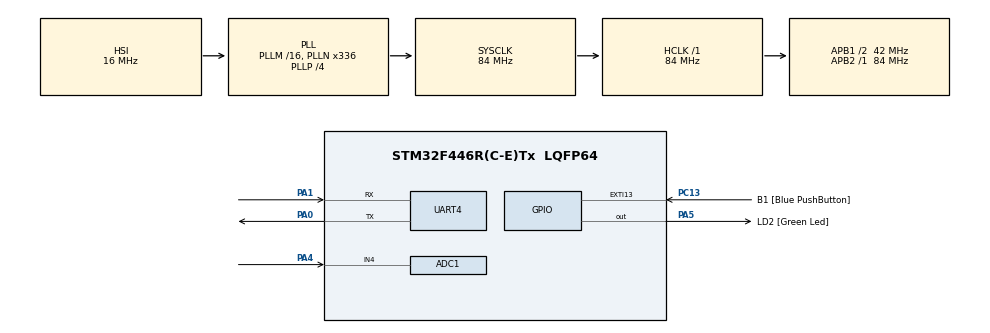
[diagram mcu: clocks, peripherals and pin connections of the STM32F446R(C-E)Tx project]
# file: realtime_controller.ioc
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ADC1.Channel-2\#ChannelRegularConversion=ADC_CHANNEL_4
ADC1.NbrOfConversionFlag=1
ADC1.Rank-2\#ChannelRegularConversion=1
ADC1.SamplingTime-2\#ChannelRegularConversion=ADC_SAMPLETIME_3CYCLES
ADC1.master=1
FREERTOS.BinarySemaphores01=LEDSemaphore,Dynamic,NULL
FREERTOS.Tasks01=LEDTask,16,128,StartLEDTask,Default,NULL,Dynamic,NULL,NULL;buttonTask,24,128,SartButtonTask,Default,NULL,Dynamic,NULL,NULL;SleepTask,8,128,StartSleepTask,Default,NULL,Dynamic,NULL,NULL;LowPowerTask,32,128,StartLowPowerTask,Default,NULL,Dynamic,NULL,NULL
FREERTOS.configUSE_NEWLIB_REENTRANT=1
FREERTOS.configUSE_TICKLESS_IDLE=1
Mcu.Family=STM32F4
Mcu.Name=STM32F446R(C-E)Tx
Mcu.Package=LQFP64
NVIC.EXTI15_10_IRQn=true\:5\:0\:false\:false\:true\:true\:true\:true\:true
NVIC.PriorityGroup=NVIC_PRIORITYGROUP_4
NVIC.RTC_WKUP_IRQn=true\:5\:0\:false\:false\:true\:true\:true\:true\:true
NVIC.TIM5_IRQn=true\:15\:0\:false\:false\:true\:false\:false\:true\:true
NVIC.TimeBase=TIM5_IRQn
NVIC.TimeBaseIP=TIM5
PA0-WKUP.Mode=Asynchronous
PA0-WKUP.Signal=UART4_TX
PA1.Mode=Asynchronous
PA1.Signal=UART4_RX
PA13.GPIO_Label=TMS
PA13.Mode=Serial_Wire
PA13.Signal=SYS_JTMS-SWDIO
PA14.GPIO_Label=TCK
PA14.Mode=Serial_Wire
PA14.Signal=SYS_JTCK-SWCLK
PA4.Signal=ADCx_IN4
PA5.GPIO_Label=LD2 [Green Led]
PA5.Signal=GPIO_Output
PB3.GPIO_Label=SWO
PB3.Signal=SYS_JTDO-SWO
PC13.GPIO_Label=B1 [Blue PushButton]
PC13.GPIO_ModeDefaultEXTI=GPIO_MODE_IT_FALLING
PC13.GPIO_PuPd=GPIO_NOPULL
PC13.Signal=GPXTI13
PC14-OSC32_IN.Mode=LSE-External-Oscillator
PC14-OSC32_IN.Signal=RCC_OSC32_IN
PC15-OSC32_OUT.Mode=LSE-External-Oscillator
PC15-OSC32_OUT.Signal=RCC_OSC32_OUT
PH0-OSC_IN.Mode=HSE-External-Oscillator
PH0-OSC_IN.Signal=RCC_OSC_IN
PH1-OSC_OUT.Mode=HSE-External-Oscillator
PH1-OSC_OUT.Signal=RCC_OSC_OUT
ProjectManager.HeapSize=0x200
ProjectManager.StackSize=0x400
ProjectManager.TargetToolchain=STM32CubeIDE
RCC.48MHZClocksFreq_Value=84000000
RCC.AHBFreq_Value=84000000
RCC.APB1CLKDivider=RCC_HCLK_DIV2
RCC.APB1Freq_Value=42000000
RCC.APB1TimFreq_Value=84000000
RCC.APB2Freq_Value=84000000
RCC.APB2TimFreq_Value=84000000
RCC.CortexFreq_Value=84000000
RCC.FLatency-AdvancedSettings=FLASH_LATENCY_2
RCC.HCLKFreq_Value=84000000
RCC.HSE_VALUE=8000000
RCC.HSI_VALUE=16000000
RCC.PLLN=336
RCC.PLLP=RCC_PLLP_DIV4
RCC.SYSCLKFreq_VALUE=84000000
RCC.SYSCLKSource=RCC_SYSCLKSOURCE_PLLCLK
RCC.USBFreq_Value=168000000
RCC.VCOOutputFreq_Value=336000000
RTC.Date=1
RTC.Hours=0
RTC.Minutes=0
RTC.Month=RTC_MONTH_OCTOBER
RTC.WakeUpCounter=0x4E20
RTC.Year=1
SH.ADCx_IN4.0=ADC1_IN4,IN4
UART4.VirtualMode=Asynchronous
VP_FREERTOS_VS_CMSIS_V2.Mode=CMSIS_V2
VP_RTC_VS_RTC_Activate.Mode=RTC_Enabled
VP_RTC_VS_RTC_WakeUp_intern.Mode=WakeUp
VP_SYS_VS_tim5.Mode=TIM5
board=NUCLEO-F446RE

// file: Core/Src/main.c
/* USER CODE BEGIN Header */
/**
  ******************************************************************************
  * @file           : main.c
  * @brief          : Main program body
  ******************************************************************************
  * @attention
  *
  * Copyright (c) 2023 STMicroelectronics.
  * All rights reserved.
  *
  * This software is licensed under terms that can be found in the LICENSE file
  * in the root directory of this software component.
  * If no LICENSE file comes with this software, it is provided AS-IS.
  *
  ******************************************************************************
  */
/* USER CODE END Header */
#include "main.h"
#include "cmsis_os.h"

ADC_HandleTypeDef hadc1;

RTC_HandleTypeDef hrtc;

UART_HandleTypeDef huart4;

/* Definitions for LEDTask */
osThreadId_t LEDTaskHandle;
const osThreadAttr_t LEDTask_attributes = {
  .name = "LEDTask",
  .stack_size = 128 * 4,
  .priority = (osPriority_t) osPriorityBelowNormal,
};
/* Definitions for buttonTask */
osThreadId_t buttonTaskHandle;
const osThreadAttr_t buttonTask_attributes = {
  .name = "buttonTask",
  .stack_size = 128 * 4,
  .priority = (osPriority_t) osPriorityNormal,
};
/* Definitions for SleepTask */
osThreadId_t SleepTaskHandle;
const osThreadAttr_t SleepTask_attributes = {
  .name = "SleepTask",
  .stack_size = 128 * 4,
  .priority = (osPriority_t) osPriorityLow,
};
/* Definitions for LowPowerTask */
osThreadId_t LowPowerTaskHandle;
const osThreadAttr_t LowPowerTask_attributes = {
  .name = "LowPowerTask",
  .stack_size = 128 * 4,
  .priority = (osPriority_t) osPriorityAboveNormal,
};
/* Definitions for LEDSemaphore */
osSemaphoreId_t LEDSemaphoreHandle;
const osSemaphoreAttr_t LEDSemaphore_attributes = {
  .name = "LEDSemaphore"
};
/* USER CODE BEGIN PV */
uint8_t buttonPressCount = 0;

/* USER CODE END PV */

void SystemClock_Config(void);
static void MX_GPIO_Init(void);
static void MX_ADC1_Init(void);
static void MX_UART4_Init(void);
static void MX_RTC_Init(void);
void StartLEDTask(void *argument);
void SartButtonTask(void *argument);
void StartSleepTask(void *argument);
void StartLowPowerTask(void *argument);

/* USER CODE BEGIN PFP */
void JumpToBootloader(void);

/* USER CODE END PFP */

int main(void)
{

  /* MCU Configuration--------------------------------------------------------*/

  /* Reset of all peripherals, Initializes the Flash interface and the Systick. */
  HAL_Init();

  /* Configure the system clock */
  SystemClock_Config();

  /* Initialize all configured peripherals */
  MX_GPIO_Init();
  MX_ADC1_Init();
  MX_UART4_Init();
  MX_RTC_Init();
  /* USER CODE BEGIN 2 */
  uint32_t buttonPressTime = 0;  // Time the button was pressed

  /* Loop for checking button state during power on */
  while(1)
  {
	  if(HAL_GPIO_ReadPin(B1_GPIO_Port, B1_Pin) == GPIO_PIN_RESET)
	  {
		  buttonPressTime = HAL_GetTick();
		  while(HAL_GPIO_ReadPin(B1_GPIO_Port, B1_Pin) == GPIO_PIN_RESET); // Wait for the button to be released
	  }
	  if((HAL_GetTick() - buttonPressTime) >= 5000)
      {
    	  JumpToBootloader();
      }
	  break;
  }

  /* USER CODE END 2 */

  /* Init scheduler */
  osKernelInitialize();

  /* Create the semaphores(s) */
  /* creation of LEDSemaphore */
  LEDSemaphoreHandle = osSemaphoreNew(1, 1, &LEDSemaphore_attributes);

  /* Create the thread(s) */
  /* creation of LEDTask */
  LEDTaskHandle = osThreadNew(StartLEDTask, NULL, &LEDTask_attributes);

  /* creation of buttonTask */
  buttonTaskHandle = osThreadNew(SartButtonTask, NULL, &buttonTask_attributes);

  /* creation of SleepTask */
  SleepTaskHandle = osThreadNew(StartSleepTask, NULL, &SleepTask_attributes);

  /* creation of LowPowerTask */
  LowPowerTaskHandle = osThreadNew(StartLowPowerTask, NULL, &LowPowerTask_attributes);

  /* Start scheduler */
  osKernelStart();

  /* We should never get here as control is now taken by the scheduler */
  /* Infinite loop */
  while (1)
  {

  }
}

void SystemClock_Config(void)
{
  RCC_OscInitTypeDef RCC_OscInitStruct = {0};
  RCC_ClkInitTypeDef RCC_ClkInitStruct = {0};

  /** Configure the main internal regulator output voltage
  */
  __HAL_RCC_PWR_CLK_ENABLE();
  __HAL_PWR_VOLTAGESCALING_CONFIG(PWR_REGULATOR_VOLTAGE_SCALE3);

  /** Initializes the RCC Oscillators according to the specified parameters
  * in the RCC_OscInitTypeDef structure.
  */
  RCC_OscInitStruct.OscillatorType = RCC_OSCILLATORTYPE_HSI|RCC_OSCILLATORTYPE_LSI;
  RCC_OscInitStruct.LSEState = RCC_LSE_ON;
  RCC_OscInitStruct.HSIState = RCC_HSI_ON;
  RCC_OscInitStruct.HSICalibrationValue = RCC_HSICALIBRATION_DEFAULT;
  RCC_OscInitStruct.LSIState = RCC_LSI_ON;
  RCC_OscInitStruct.PLL.PLLState = RCC_PLL_ON;
  RCC_OscInitStruct.PLL.PLLSource = RCC_PLLSOURCE_HSI;
  RCC_OscInitStruct.PLL.PLLM = 16;
  RCC_OscInitStruct.PLL.PLLN = 336;
  RCC_OscInitStruct.PLL.PLLP = RCC_PLLP_DIV4;
  RCC_OscInitStruct.PLL.PLLQ = 2;
  RCC_OscInitStruct.PLL.PLLR = 2;
  if (HAL_RCC_OscConfig(&RCC_OscInitStruct) != HAL_OK)
  {
    Error_Handler();
  }

  /** Initializes the CPU, AHB and APB buses clocks
  */
  RCC_ClkInitStruct.ClockType = RCC_CLOCKTYPE_HCLK|RCC_CLOCKTYPE_SYSCLK
                              |RCC_CLOCKTYPE_PCLK1|RCC_CLOCKTYPE_PCLK2;
  RCC_ClkInitStruct.SYSCLKSource = RCC_SYSCLKSOURCE_PLLCLK;
  RCC_ClkInitStruct.AHBCLKDivider = RCC_SYSCLK_DIV1;
  RCC_ClkInitStruct.APB1CLKDivider = RCC_HCLK_DIV2;
  RCC_ClkInitStruct.APB2CLKDivider = RCC_HCLK_DIV1;

  if (HAL_RCC_ClockConfig(&RCC_ClkInitStruct, FLASH_LATENCY_2) != HAL_OK)
  {
    Error_Handler();
  }
}

static void MX_ADC1_Init(void)
{

  ADC_ChannelConfTypeDef sConfig = {0};

  /** Configure the global features of the ADC (Clock, Resolution, Data Alignment and number of conversion)
  */
  hadc1.Instance = ADC1;
  hadc1.Init.ClockPrescaler = ADC_CLOCK_SYNC_PCLK_DIV4;
  hadc1.Init.Resolution = ADC_RESOLUTION_12B;
  hadc1.Init.ScanConvMode = DISABLE;
  hadc1.Init.ContinuousConvMode = DISABLE;
  hadc1.Init.DiscontinuousConvMode = DISABLE;
  hadc1.Init.ExternalTrigConvEdge = ADC_EXTERNALTRIGCONVEDGE_NONE;
  hadc1.Init.ExternalTrigConv = ADC_SOFTWARE_START;
  hadc1.Init.DataAlign = ADC_DATAALIGN_RIGHT;
  hadc1.Init.NbrOfConversion = 1;
  hadc1.Init.DMAContinuousRequests = DISABLE;
  hadc1.Init.EOCSelection = ADC_EOC_SINGLE_CONV;
  if (HAL_ADC_Init(&hadc1) != HAL_OK)
  {
    Error_Handler();
  }

  /** Configure for the selected ADC regular channel its corresponding rank in the sequencer and its sample time.
  */
  sConfig.Channel = ADC_CHANNEL_4;
  sConfig.Rank = 1;
  sConfig.SamplingTime = ADC_SAMPLETIME_3CYCLES;
  if (HAL_ADC_ConfigChannel(&hadc1, &sConfig) != HAL_OK)
  {
    Error_Handler();
  }

}

static void MX_RTC_Init(void)
{

  RTC_TimeTypeDef sTime = {0};
  RTC_DateTypeDef sDate = {0};

  /** Initialize RTC Only
  */
  hrtc.Instance = RTC;
  hrtc.Init.HourFormat = RTC_HOURFORMAT_24;
  hrtc.Init.AsynchPrediv = 127;
  hrtc.Init.SynchPrediv = 255;
  hrtc.Init.OutPut = RTC_OUTPUT_DISABLE;
  hrtc.Init.OutPutPolarity = RTC_OUTPUT_POLARITY_HIGH;
  hrtc.Init.OutPutType = RTC_OUTPUT_TYPE_OPENDRAIN;
  if (HAL_RTC_Init(&hrtc) != HAL_OK)
  {
    Error_Handler();
  }

  /** Initialize RTC and set the Time and Date
  */
  sTime.Hours = 0x0;
  sTime.Minutes = 0x0;
  sTime.Seconds = 0x0;
  sTime.DayLightSaving = RTC_DAYLIGHTSAVING_NONE;
  sTime.StoreOperation = RTC_STOREOPERATION_RESET;
  if (HAL_RTC_SetTime(&hrtc, &sTime, RTC_FORMAT_BCD) != HAL_OK)
  {
    Error_Handler();
  }
  sDate.WeekDay = RTC_WEEKDAY_MONDAY;
  sDate.Month = RTC_MONTH_OCTOBER;
  sDate.Date = 0x1;
  sDate.Year = 0x1;

  if (HAL_RTC_SetDate(&hrtc, &sDate, RTC_FORMAT_BCD) != HAL_OK)
  {
    Error_Handler();
  }

}

static void MX_UART4_Init(void)
{

  huart4.Instance = UART4;
  huart4.Init.BaudRate = 115200;
  huart4.Init.WordLength = UART_WORDLENGTH_8B;
  huart4.Init.StopBits = UART_STOPBITS_1;
  huart4.Init.Parity = UART_PARITY_NONE;
  huart4.Init.Mode = UART_MODE_TX_RX;
  huart4.Init.HwFlowCtl = UART_HWCONTROL_NONE;
  huart4.Init.OverSampling = UART_OVERSAMPLING_16;
  if (HAL_UART_Init(&huart4) != HAL_OK)
  {
    Error_Handler();
  }

}

static void MX_GPIO_Init(void)
{
  GPIO_InitTypeDef GPIO_InitStruct = {0};

  /* GPIO Ports Clock Enable */
  __HAL_RCC_GPIOC_CLK_ENABLE();
  __HAL_RCC_GPIOH_CLK_ENABLE();
  __HAL_RCC_GPIOA_CLK_ENABLE();
  __HAL_RCC_GPIOB_CLK_ENABLE();

  /*Configure GPIO pin Output Level */
  HAL_GPIO_WritePin(LD2_GPIO_Port, LD2_Pin, GPIO_PIN_RESET);

  /*Configure GPIO pin : B1_Pin */
  GPIO_InitStruct.Pin = B1_Pin;
  GPIO_InitStruct.Mode = GPIO_MODE_IT_FALLING;
  GPIO_InitStruct.Pull = GPIO_NOPULL;
  HAL_GPIO_Init(B1_GPIO_Port, &GPIO_InitStruct);

  /*Configure GPIO pin : LD2_Pin */
  GPIO_InitStruct.Pin = LD2_Pin;
  GPIO_InitStruct.Mode = GPIO_MODE_OUTPUT_PP;
  GPIO_InitStruct.Pull = GPIO_NOPULL;
  GPIO_InitStruct.Speed = GPIO_SPEED_FREQ_LOW;
  HAL_GPIO_Init(LD2_GPIO_Port, &GPIO_InitStruct);

  /* EXTI interrupt init*/
  HAL_NVIC_SetPriority(EXTI15_10_IRQn, 5, 0);
  HAL_NVIC_EnableIRQ(EXTI15_10_IRQn);

}

/* USER CODE BEGIN 4 */

/* Function to perform jump to system memory boot from user application */
void JumpToBootloader(void) {
	void (*SysMemBootJump)(void);

	/* Set system memory address. For STM32F446, system memory is on 0x1FFF0000 */
	volatile uint32_t addr = 0x1FFF0000;

	/* Disable RCC, set it to default (after reset) settings */
	HAL_RCC_DeInit();

	/* Disable systick timer and reset it to default values */
	SysTick->CTRL = 0;
	SysTick->LOAD = 0;
	SysTick->VAL = 0;

	/* Disable all interrupts */
	__disable_irq();

	/* Remap system memory to address 0x0000 0000 in address space */
	__HAL_SYSCFG_REMAPMEMORY_SYSTEMFLASH();

	/* Set jump memory location for system memory. Use address with 4 bytes offset which specifies jump location where program starts */
	SysMemBootJump = (void (*)(void)) (*((uint32_t *)(addr + 4)));

	/* Set main stack pointer */
	__set_MSP(*(uint32_t *)addr);

	/* call our function to jump to set location. This will start system memory execution */
	SysMemBootJump();

	/*
	 * Connect USB<->UART converter to dedicated USART1 or USART3 pins and test bootloader
	 */
}

/* Button Pin External Interrupt Callback */
void HAL_GPIO_EXTI_Callback(uint16_t GPIO_Pin)
{
	/*
	 * When the button pressed the device switched
	 * to Normal Operation mode
	 */

	/* Check for exact pin */
    if(GPIO_Pin == B1_Pin)
    {
    	/* Notify buttonTask and default LEDTask */
    	osThreadFlagsSet(buttonTaskHandle, 1);
    	osThreadFlagsSet(LEDTaskHandle, 1);
    }
}

/* Real Time Clock Wake Up Timer Callaback */
void HAL_RTCEx_WakeUpTimerEventCallback(RTC_HandleTypeDef *hrtc)
{
	/* Reconfigure SysClock after wake up */
	SystemClock_Config();
	/* Resume HAL Tick Timer which is TIM5 in this project */
	HAL_ResumeTick();
	/* Deactivate RTC Wake Up Timer Interrrupt */
	HAL_RTCEx_DeactivateWakeUpTimer(hrtc);
	/* Notify LowPowerTask to perform its job every 10s */
	osThreadFlagsSet(LowPowerTaskHandle, 1);
}
/* USER CODE END 4 */

void StartLEDTask(void *argument)
{
  /* USER CODE BEGIN 5 */
  /* Initilize Task state in start-up */
  osThreadFlagsSet(LEDTaskHandle, 1);
  /* Infinite loop */
  for(;;)
  {
	  /* Waiting for notification */
	  osThreadFlagsWait(1, osFlagsNoClear, osWaitForever);
	  /* Toggling the LED Every 600ms */
	  HAL_GPIO_TogglePin(LD2_GPIO_Port, LD2_Pin);
	  /* Set Threads Flag to make loop  */
	  osThreadFlagsSet(LEDTaskHandle, 1);
	  osDelay(600);
  }
  /* USER CODE END 5 */
}

void SartButtonTask(void *argument)
{
  /* USER CODE BEGIN SartButtonTask */

  /* Infinite loop */
  for(;;)
  {
	  /* Waiting for notification */
	  osThreadFlagsWait(1, osFlagsWaitAll, osWaitForever);
	  if(HAL_GPIO_ReadPin(B1_GPIO_Port, B1_Pin) == GPIO_PIN_RESET)
	  {
		  /* Suspend low power task */
		  osThreadSuspend(LowPowerTaskHandle);
		  /* Deactivate RTC Wake Up Timer Interrrupt */
	      HAL_RTCEx_DeactivateWakeUpTimer(&hrtc);
		  /* Resume default LED task */
		  if(osThreadGetState(LEDTaskHandle) == osThreadBlocked)
		  {
			  osThreadResume(LEDTaskHandle);
		  }
		  uint32_t pressDuration = 0;
		  // Calculate Button Press Duration
		  while(HAL_GPIO_ReadPin(B1_GPIO_Port, B1_Pin) == GPIO_PIN_RESET)
		  {
			  osDelay(50);
			  pressDuration += 50;
		  }
		  /* Check Press Situatiom */
		  if(pressDuration >= 5000) {
			  osThreadSuspend(LEDTaskHandle);
			  // Long press (5 seconds)
			  HAL_GPIO_WritePin(LD2_GPIO_Port, LD2_Pin, GPIO_PIN_RESET);
			  /* 5 time 5Hz blinks */
			  for(int i = 0; i < 5; i++)
			  {
				  HAL_GPIO_TogglePin(LD2_GPIO_Port, LD2_Pin);
				  osDelay(100);
				  HAL_GPIO_TogglePin(LD2_GPIO_Port, LD2_Pin);
				  osDelay(100);
			  }
			  HAL_GPIO_WritePin(LD2_GPIO_Port, LD2_Pin, GPIO_PIN_RESET);
			  /* Notify SleepTask */
			  osThreadFlagsSet(SleepTaskHandle, 1);
		  }
		  else if(pressDuration >= 250 && pressDuration <= 1000)
		  {
			  // Short press (between 250ms and 1 second)
			  buttonPressCount++;
			  if (buttonPressCount == 3)
			  {
				  /* Read ADC and send it over UART4 */
				  buttonPressCount = 0;
				  // Start the adc
				  HAL_ADC_Start(&hadc1);
				  // polling for new adc convertion
				  HAL_ADC_PollForConversion(&hadc1, 1);
				  // get the adc value
				  uint32_t adc_val = HAL_ADC_GetValue(&hadc1);
				  // stop adc
				  HAL_ADC_Stop(&hadc1);
				  // sending adc value over UART4
				  HAL_UART_Transmit(&huart4, (uint8_t *) &adc_val, 4, 100);
			  }
		  }
	  }
  }
  /* USER CODE END SartButtonTask */
}

void StartSleepTask(void *argument)
{
  /* USER CODE BEGIN StartSleepTask */
  /* Infinite loop */
  for(;;)
  {
	  /*
	  * Before going to sleep mode all normal task should switch to
	  * IDLE state
	  */

	  /* Waiting for notification */
	  osThreadFlagsWait(1, osFlagsWaitAll, osWaitForever);

	  /* Perform pre sleep configuration */
	  osThreadFlagsSet(LowPowerTaskHandle, 0);
	  osThreadFlagsSet(buttonTaskHandle, 0);
	  osThreadResume(LowPowerTaskHandle);
	  // Ensure that led is off
	  HAL_GPIO_WritePin(LD2_GPIO_Port, LD2_Pin, GPIO_PIN_RESET);
	  // Deactivate Systick
	  HAL_SuspendTick();
	  // Activate RTC Wake Up Interrupt
	  HAL_RTCEx_SetWakeUpTimer_IT(&hrtc, 0x4E20, RTC_WAKEUPCLOCK_RTCCLK_DIV16);
	  /* Enter Sleep Mode */
	  HAL_PWR_EnterSLEEPMode(PWR_LOWPOWERREGULATOR_ON, PWR_SLEEPENTRY_WFI);
  }
  /* USER CODE END StartSleepTask */
}

void StartLowPowerTask(void *argument)
{
  /* USER CODE BEGIN StartLowPowerTask */
  /* Infinite loop */
  for(;;)
  {
	  /* Waiting for notification */
	  osThreadFlagsWait(1, osFlagsWaitAll, osWaitForever);
	  /* 3 time 5Hz blinks */
	  for(int i = 0; i < 3; i++)
	  {
		  HAL_GPIO_TogglePin(LD2_GPIO_Port, LD2_Pin);
		  osDelay(100);
		  HAL_GPIO_TogglePin(LD2_GPIO_Port, LD2_Pin);
		  osDelay(100);
	  }
	  /* Reactivate Wake Up Timer to blink LED every 10s */
	  HAL_SuspendTick();
	  HAL_RTCEx_SetWakeUpTimer_IT(&hrtc, 0x4E20, RTC_WAKEUPCLOCK_RTCCLK_DIV16);
	  HAL_PWR_EnterSLEEPMode(PWR_LOWPOWERREGULATOR_ON, PWR_SLEEPENTRY_WFI);
  }
  /* USER CODE END StartLowPowerTask */
}

void HAL_TIM_PeriodElapsedCallback(TIM_HandleTypeDef *htim)
{
  if (htim->Instance == TIM5) {
    HAL_IncTick();
  }
}

void Error_Handler(void)
{
  __disable_irq();
  while (1)
  {
  }
}

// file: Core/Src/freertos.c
/* USER CODE BEGIN Header */
/**
  ******************************************************************************
  * File Name          : freertos.c
  * Description        : Code for freertos applications
  ******************************************************************************
  * @attention
  *
  * Copyright (c) 2023 STMicroelectronics.
  * All rights reserved.
  *
  * This software is licensed under terms that can be found in the LICENSE file
  * in the root directory of this software component.
  * If no LICENSE file comes with this software, it is provided AS-IS.
  *
  ******************************************************************************
  */
/* USER CODE END Header */

#include "FreeRTOS.h"
#include "task.h"
#include "main.h"

/* USER CODE BEGIN PREPOSTSLEEP */
__weak void PreSleepProcessing(uint32_t ulExpectedIdleTime)
{
/* place for user code */
}

__weak void PostSleepProcessing(uint32_t ulExpectedIdleTime)
{
/* place for user code */
}
/* USER CODE END PREPOSTSLEEP */
